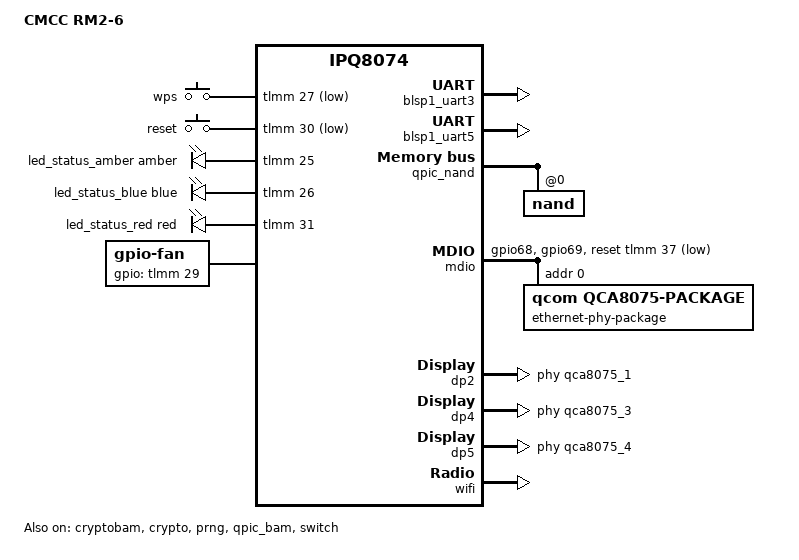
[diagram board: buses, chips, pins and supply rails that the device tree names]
// SPDX-License-Identifier: GPL-2.0-or-later OR MIT

/dts-v1/;

#include "ipq8074-512m.dtsi"
#include "ipq8074-ac-cpu.dtsi"
#include "ipq8074-ess.dtsi"
#include "ipq8074-nss.dtsi"
#include <dt-bindings/gpio/gpio.h>
#include <dt-bindings/input/input.h>
#include <dt-bindings/leds/common.h>

/ {
	model = "CMCC RM2-6";
	compatible = "cmcc,rm2-6", "qcom,ipq8074";

	aliases {
		serial0 = &blsp1_uart5;
		serial1 = &blsp1_uart3;
		led-boot = &led_status_red;
		led-failsafe = &led_status_red;
		led-running = &led_status_blue;
		led-upgrade = &led_status_amber;
		/*
		 * Aliases as required by u-boot
		 * to patch MAC addresses
		 */
		ethernet0 = &dp4;
		ethernet1 = &dp2;
		ethernet2 = &dp5;
		label-mac-device = &dp4;
	};

	chosen {
		stdout-path = "serial0:115200n8";
		bootargs-append = " root=/dev/ubiblock0_1";
	};

	keys {
		compatible = "gpio-keys";

		wps {
			label = "wps";
			linux,code = <KEY_WPS_BUTTON>;
			gpios = <&tlmm 27 GPIO_ACTIVE_LOW>;
		};

		reset {
			label = "reset";
			linux,code = <KEY_RESTART>;
			gpios = <&tlmm 30 GPIO_ACTIVE_LOW>;
		};
	};

	leds {
		compatible = "gpio-leds";

		led_status_amber: status-amber {
			color = <LED_COLOR_ID_AMBER>;
			function = LED_FUNCTION_STATUS;
			gpios = <&tlmm 25 GPIO_ACTIVE_HIGH>;
		};

		led_status_blue: status-blue {
			color = <LED_COLOR_ID_BLUE>;
			function = LED_FUNCTION_STATUS;
			gpios = <&tlmm 26 GPIO_ACTIVE_HIGH>;
		};

		led_status_red: status-red {
			color = <LED_COLOR_ID_RED>;
			function = LED_FUNCTION_STATUS;
			gpios = <&tlmm 31 GPIO_ACTIVE_HIGH>;
		};
	};

	fan: gpio-fan {
		#cooling-cells = <2>;
		compatible = "gpio-fan";
		gpios = <&tlmm 29 GPIO_ACTIVE_HIGH>;
		gpio-fan,speed-map = <0 0>, <1 1>;
	};
};

&tlmm {
	mdio_pins: mdio-pins {
		mdc {
			pins = "gpio68";
			function = "mdc";
			drive-strength = <8>;
			bias-pull-up;
		};

		mdio {
			pins = "gpio69";
			function = "mdio";
			drive-strength = <8>;
			bias-pull-up;
		};
	};
};

&blsp1_uart3 {
	status = "okay";
};

&blsp1_uart5 {
	status = "okay";
};

&cryptobam {
	status = "okay";
};

&crypto {
	status = "okay";
};

&prng {
	status = "okay";
};

&qpic_bam {
	status = "okay";
};

&qpic_nand {
	status = "okay";

	nand@0 {
		reg = <0>;
		nand-ecc-strength = <8>;
		nand-ecc-step-size = <512>;
		nand-bus-width = <8>;

		partitions {
			compatible = "qcom,smem-part";
		};
	};
};

&cpu0_thermal {
	trips {
		cpu0_trip_active: cpu-active {
			temperature = <60000>;
			hysteresis = <2000>;
			type = "active";
		};
	};

	cooling-maps {
		cpu-active {
			cooling-device = <&fan THERMAL_NO_LIMIT THERMAL_NO_LIMIT>;
			trip = <&cpu0_trip_active>;
		};
	};
};

&cpu1_thermal {
	trips {
		cpu1_trip_active: cpu-active {
			temperature = <60000>;
			hysteresis = <2000>;
			type = "active";
		};
	};

	cooling-maps {
		cpu-active {
			cooling-device = <&fan THERMAL_NO_LIMIT THERMAL_NO_LIMIT>;
			trip = <&cpu1_trip_active>;
		};
	};
};

&cpu2_thermal {
	trips {
		cpu2_trip_active: cpu-active {
			temperature = <60000>;
			hysteresis = <2000>;
			type = "active";
		};
	};

	cooling-maps {
		cpu-active {
			cooling-device = <&fan THERMAL_NO_LIMIT THERMAL_NO_LIMIT>;
			trip = <&cpu2_trip_active>;
		};
	};
};

&cpu3_thermal {
	trips {
		cpu3_trip_active: cpu-active {
			temperature = <60000>;
			hysteresis = <2000>;
			type = "active";
		};
	};

	cooling-maps {
		cpu-active {
			cooling-device = <&fan THERMAL_NO_LIMIT THERMAL_NO_LIMIT>;
			trip = <&cpu3_trip_active>;
		};
	};
};

&cluster_thermal {
	trips {
		cluster_active: cluster-active {
			temperature = <60000>;
			hysteresis = <2000>;
			type = "active";
		};
	};

	cooling-maps {
		cluster-active {
			cooling-device = <&fan THERMAL_NO_LIMIT THERMAL_NO_LIMIT>;
			trip = <&cluster_active>;
		};
	};
};

&mdio {
	status = "okay";

	pinctrl-0 = <&mdio_pins>;
	pinctrl-names = "default";
	reset-gpios = <&tlmm 37 GPIO_ACTIVE_LOW>;

	ethernet-phy-package@0 {
		compatible = "qcom,qca8075-package";
		#address-cells = <1>;
		#size-cells = <0>;
		reg = <0>;

		qca8075_1: ethernet-phy@1 {
			compatible = "ethernet-phy-ieee802.3-c22";
			reg = <1>;
		};

		qca8075_3: ethernet-phy@3 {
			compatible = "ethernet-phy-ieee802.3-c22";
			reg = <3>;
		};

		qca8075_4: ethernet-phy@4 {
			compatible = "ethernet-phy-ieee802.3-c22";
			reg = <4>;
		};
	};
};

&switch {
	status = "okay";

	switch_lan_bmp = <(ESS_PORT2 | ESS_PORT4)>;
	switch_wan_bmp = <ESS_PORT5>;
	switch_mac_mode = <MAC_MODE_PSGMII>;

	qcom,port_phyinfo {
		port@2 {
			port_id = <2>;
			phy_address = <1>;
		};
		port@4 {
			port_id = <4>;
			phy_address = <3>;
		};
		port@5 {
			port_id = <5>;
			phy_address = <4>;
		};
	};
};

&edma {
	status = "okay";
};

/*
 * Directly connect to the Hi5630
 * PLC (Power Line Communication)
 */
&dp2 {
	status = "okay";
	phy-handle = <&qca8075_1>;
	label = "plc";
};

&dp4 {
	status = "okay";
	phy-handle = <&qca8075_3>;
	label = "lan";
};

&dp5 {
	status = "okay";
	phy-handle = <&qca8075_4>;
	label = "wan";
};

&wifi {
	status = "okay";

	qcom,ath11k-calibration-variant = "CMCC-RM2-6";
	qcom,ath11k-fw-memory-mode = <1>;
};
